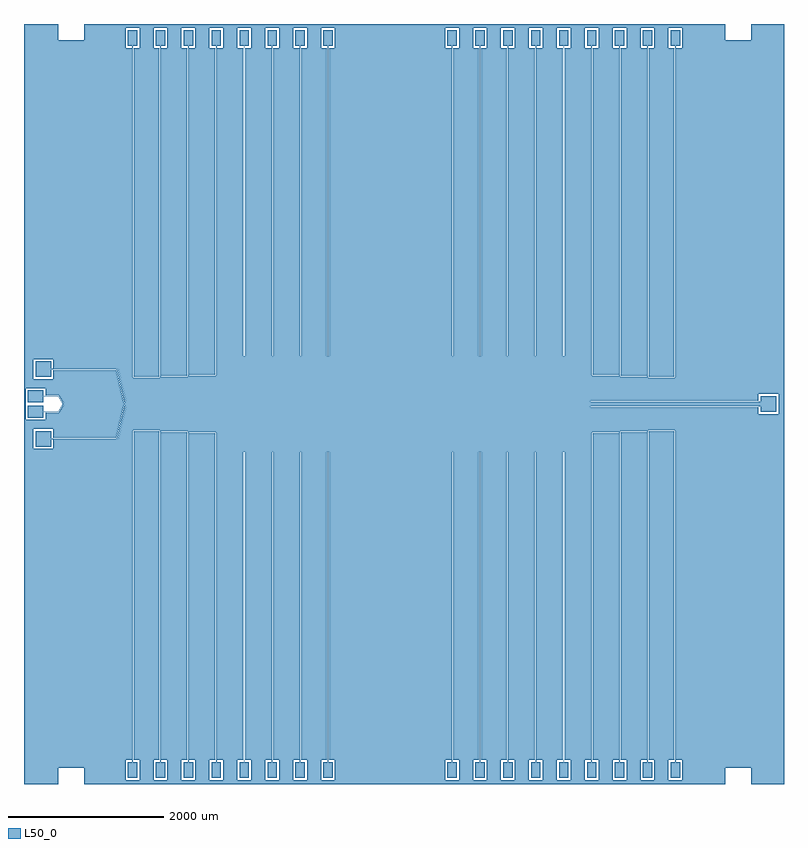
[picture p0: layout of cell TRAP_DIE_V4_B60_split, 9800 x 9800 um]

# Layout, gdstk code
import gdstk
lib = gdstk.Library(unit=1e-6, precision=1e-09)
def R(c, l, rs):  # rectangles x0, y0, x1, y1
    for r in rs: c.add(gdstk.rectangle(r[:2], r[2:], *l))
def P(c, l, *ps):  # polygons
    for p in ps: c.add(gdstk.Polygon(p, *l))
L50_0 = (50, 0)

trap_die_v4_b60_split = lib.new_cell('TRAP_DIE_V4_B60_split')
R(trap_die_v4_b60_split, L50_0, [(-3487,-580,-3153,-350), (-3127,-580,-2793,-362), (-2767,-580,-2433,-374), (-2052,-580,-1708,-393), (-1692,-580,-1348,-405), (-1332,-580,-988,-417), (628,-580,972,-429), (988,-580,1332,-417), (1348,-580,1692,-405), (1708,-580,2052,-393), (2433,-580,2767,-374), (2793,-580,3127,-362), (3153,-580,3487,-350), (211,-14,269,14), (-3487,350,-3153,580), (3153,350,3487,580), (-3127,362,-2793,580), (2793,362,3127,580), (-2767,374,-2433,580), (2433,374,2767,580), (-2052,393,-1708,580), (1708,393,2052,580), (-1692,405,-1348,580), (1348,405,1692,580), (-1332,417,-988,580), (988,417,1332,580), (628,429,972,580)])
P(trap_die_v4_b60_split, L50_0, [(-3697.016,453.75),(-4550,453.75),(-4550,550),(-4750,550),(-4750,350),(-4550,350),(-4550,446.25),(-3702.984,446.25),(-3602.984,12.5),(158.5,12.5),(158.5,2.5),(210,2.5),(210,15),(270,15),(270,2.5),(1995,2.5),(1995,20),(-3597.016,20)],
  [(1995,-2.5),(270,-2.5),(270,-15),(210,-15),(210,-2.5),(158.5,-2.5),(158.5,-12.5),(-3602.984,-12.5),(-3702.984,-446.25),(-4550,-446.25),(-4550,-350),(-4750,-350),(-4750,-550),(-4550,-550),(-4550,-453.75),(-3697.016,-453.75),(-3597.016,-20),(1995,-20)],
  [(-2000,109),(-2000,25),(2000,25),(2000,-25),(-2000,-25),(-2000,-109),(2060,-109),(2060,-30),(4600,-30),(4600,-100),(4800,-100),(4800,100),(4600,100),(4600,30),(2060,30),(2060,109)],
  [(-3497,4620),(-3440,4620),(-3440,4820),(-3560,4820),(-3560,4620),(-3503,4620),(-3503,334),(-2000,334),(-2000,114),(-902.5,114),(-902.5,340),(-3497,340)],
  [(-3137,4620),(-3080,4620),(-3080,4820),(-3200,4820),(-3200,4620),(-3143,4620),(-3143,346),(-897.5,346),(-897.5,114),(-782.5,114),(-782.5,352),(-3137,352)],
  [(-2777,4620),(-2720,4620),(-2720,4820),(-2840,4820),(-2840,4620),(-2783,4620),(-2783,358),(-777.5,358),(-777.5,114),(-662.5,114),(-662.5,364),(-2777,364)],
  [(-2417,4620),(-2360,4620),(-2360,4820),(-2480,4820),(-2480,4620),(-2423,4620),(-2423,370),(-657.5,370),(-657.5,114),(-542.5,114),(-542.5,376),(-2417,376)],
  [(-2057,4620),(-2000,4620),(-2000,4820),(-2120,4820),(-2120,4620),(-2063,4620),(-2063,382),(-537.5,382),(-537.5,114),(-422.5,114),(-422.5,388),(-2057,388)],
  [(-1697,4620),(-1640,4620),(-1640,4820),(-1760,4820),(-1760,4620),(-1703,4620),(-1703,394),(-417.5,394),(-417.5,114),(-302.5,114),(-302.5,400),(-1697,400)],
  [(-1337,4620),(-1280,4620),(-1280,4820),(-1400,4820),(-1400,4620),(-1343,4620),(-1343,406),(-297.5,406),(-297.5,114),(-182.5,114),(-182.5,412),(-1337,412)],
  [(-977,4620),(-920,4620),(-920,4820),(-1040,4820),(-1040,4620),(-983,4620),(-983,418),(-177.5,418),(-177.5,114),(-62.5,114),(-62.5,424),(-977,424)],
  [(902.5,114),(2060,114),(2060,334),(3503,334),(3503,4620),(3560,4620),(3560,4820),(3440,4820),(3440,4620),(3497,4620),(3497,340),(902.5,340)],
  [(782.5,114),(897.5,114),(897.5,346),(3143,346),(3143,4620),(3200,4620),(3200,4820),(3080,4820),(3080,4620),(3137,4620),(3137,352),(782.5,352)],
  [(662.5,114),(777.5,114),(777.5,358),(2783,358),(2783,4620),(2840,4620),(2840,4820),(2720,4820),(2720,4620),(2777,4620),(2777,364),(662.5,364)],
  [(542.5,114),(657.5,114),(657.5,370),(2423,370),(2423,4620),(2480,4620),(2480,4820),(2360,4820),(2360,4620),(2417,4620),(2417,376),(542.5,376)],
  [(422.5,114),(537.5,114),(537.5,382),(2063,382),(2063,4620),(2120,4620),(2120,4820),(2000,4820),(2000,4620),(2057,4620),(2057,388),(422.5,388)],
  [(302.5,114),(417.5,114),(417.5,394),(1703,394),(1703,4620),(1760,4620),(1760,4820),(1640,4820),(1640,4620),(1697,4620),(1697,400),(302.5,400)],
  [(182.5,114),(297.5,114),(297.5,406),(1343,406),(1343,4620),(1400,4620),(1400,4820),(1280,4820),(1280,4620),(1337,4620),(1337,412),(182.5,412)],
  [(62.5,114),(177.5,114),(177.5,418),(983,418),(983,4620),(1040,4620),(1040,4820),(920,4820),(920,4620),(977,4620),(977,424),(62.5,424)],
  [(-57.5,114),(57.5,114),(57.5,430),(623,430),(623,4620),(680,4620),(680,4820),(560,4820),(560,4620),(617,4620),(617,436),(-57.5,436)],
  [(-902.5,-114),(-2000,-114),(-2000,-334),(-3503,-334),(-3503,-4620),(-3560,-4620),(-3560,-4820),(-3440,-4820),(-3440,-4620),(-3497,-4620),(-3497,-340),(-902.5,-340)],
  [(-782.5,-114),(-897.5,-114),(-897.5,-346),(-3143,-346),(-3143,-4620),(-3200,-4620),(-3200,-4820),(-3080,-4820),(-3080,-4620),(-3137,-4620),(-3137,-352),(-782.5,-352)],
  [(-662.5,-114),(-777.5,-114),(-777.5,-358),(-2783,-358),(-2783,-4620),(-2840,-4620),(-2840,-4820),(-2720,-4820),(-2720,-4620),(-2777,-4620),(-2777,-364),(-662.5,-364)],
  [(-542.5,-114),(-657.5,-114),(-657.5,-370),(-2423,-370),(-2423,-4620),(-2480,-4620),(-2480,-4820),(-2360,-4820),(-2360,-4620),(-2417,-4620),(-2417,-376),(-542.5,-376)],
  [(-422.5,-114),(-537.5,-114),(-537.5,-382),(-2063,-382),(-2063,-4620),(-2120,-4620),(-2120,-4820),(-2000,-4820),(-2000,-4620),(-2057,-4620),(-2057,-388),(-422.5,-388)],
  [(-302.5,-114),(-417.5,-114),(-417.5,-394),(-1703,-394),(-1703,-4620),(-1760,-4620),(-1760,-4820),(-1640,-4820),(-1640,-4620),(-1697,-4620),(-1697,-400),(-302.5,-400)],
  [(-182.5,-114),(-297.5,-114),(-297.5,-406),(-1343,-406),(-1343,-4620),(-1400,-4620),(-1400,-4820),(-1280,-4820),(-1280,-4620),(-1337,-4620),(-1337,-412),(-182.5,-412)],
  [(-62.5,-114),(-177.5,-114),(-177.5,-418),(-983,-418),(-983,-4620),(-1040,-4620),(-1040,-4820),(-920,-4820),(-920,-4620),(-977,-4620),(-977,-424),(-62.5,-424)],
  [(3497,-4620),(3440,-4620),(3440,-4820),(3560,-4820),(3560,-4620),(3503,-4620),(3503,-334),(2060,-334),(2060,-114),(902.5,-114),(902.5,-340),(3497,-340)],
  [(3137,-4620),(3080,-4620),(3080,-4820),(3200,-4820),(3200,-4620),(3143,-4620),(3143,-346),(897.5,-346),(897.5,-114),(782.5,-114),(782.5,-352),(3137,-352)],
  [(2777,-4620),(2720,-4620),(2720,-4820),(2840,-4820),(2840,-4620),(2783,-4620),(2783,-358),(777.5,-358),(777.5,-114),(662.5,-114),(662.5,-364),(2777,-364)],
  [(2417,-4620),(2360,-4620),(2360,-4820),(2480,-4820),(2480,-4620),(2423,-4620),(2423,-370),(657.5,-370),(657.5,-114),(542.5,-114),(542.5,-376),(2417,-376)],
  [(2057,-4620),(2000,-4620),(2000,-4820),(2120,-4820),(2120,-4620),(2063,-4620),(2063,-382),(537.5,-382),(537.5,-114),(422.5,-114),(422.5,-388),(2057,-388)],
  [(1697,-4620),(1640,-4620),(1640,-4820),(1760,-4820),(1760,-4620),(1703,-4620),(1703,-394),(417.5,-394),(417.5,-114),(302.5,-114),(302.5,-400),(1697,-400)],
  [(1337,-4620),(1280,-4620),(1280,-4820),(1400,-4820),(1400,-4620),(1343,-4620),(1343,-406),(297.5,-406),(297.5,-114),(182.5,-114),(182.5,-412),(1337,-412)],
  [(977,-4620),(920,-4620),(920,-4820),(1040,-4820),(1040,-4620),(983,-4620),(983,-418),(177.5,-418),(177.5,-114),(62.5,-114),(62.5,-424),(977,-424)],
  [(617,-4620),(560,-4620),(560,-4820),(680,-4820),(680,-4620),(623,-4620),(623,-430),(57.5,-430),(57.5,-114),(-57.5,-114),(-57.5,-436),(617,-436)],
  [(153.5,7.5),(-4398.622,7.5),(-4458.622,102.5),(-4650,102.5),(-4650,175),(-4850,175),(-4850,25),(-4650,25),(-4650,97.5),(-4461.378,97.5),(-4401.378,2.5),(153.5,2.5)],
  [(-4850,-25),(-4850,-175),(-4650,-175),(-4650,-102.5),(-4458.622,-102.5),(-4398.622,-7.5),(153.5,-7.5),(153.5,-2.5),(-4401.378,-2.5),(-4461.378,-97.5),(-4650,-97.5),(-4650,-25)],
  [(-4460,-4690),(-4120,-4690),(-4120,-4900),(4140,-4900),(4140,-4690),(4480,-4690),(4480,-4900),(4900,-4900),(4900,-580),(3513,-580),(3513,-4590),(3590,-4590),(3590,-4850),(3410,-4850),(3410,-4590),(3487,-4590),(3487,-580),(3153,-580),(3153,-4590),(3230,-4590),(3230,-4850),(3050,-4850),(3050,-4590),(3127,-4590),(3127,-580),(2793,-580),(2793,-4590),(2870,-4590),(2870,-4850),(2690,-4850),(2690,-4590),(2767,-4590),(2767,-580),(2433,-580),(2433,-4590),(2510,-4590),(2510,-4850),(2330,-4850),(2330,-4590),(2407,-4590),(2407,-580),(2068,-580),(2068,-614),(2073,-614),(2073,-4590),(2150,-4590),(2150,-4850),(1970,-4850),(1970,-4590),(2047,-4590),(2047,-614),(2052,-614),(2052,-580),(1708,-580),(1708,-614),(1713,-614),(1713,-4590),(1790,-4590),(1790,-4850),(1610,-4850),(1610,-4590),(1687,-4590),(1687,-614),(1692,-614),(1692,-580),(1348,-580),(1348,-614),(1353,-614),(1353,-4590),(1430,-4590),(1430,-4850),(1250,-4850),(1250,-4590),(1327,-4590),(1327,-614),(1332,-614),(1332,-580),(988,-580),(988,-614),(993,-614),(993,-4590),(1070,-4590),(1070,-4850),(890,-4850),(890,-4590),(967,-4590),(967,-614),(972,-614),(972,-580),(628,-580),(628,-614),(633,-614),(633,-4590),(710,-4590),(710,-4850),(530,-4850),(530,-4590),(607,-4590),(607,-614),(612,-614),(612,-580),(-972,-580),(-972,-614),(-967,-614),(-967,-4590),(-890,-4590),(-890,-4850),(-1070,-4850),(-1070,-4590),(-993,-4590),(-993,-614),(-988,-614),(-988,-580),(-1332,-580),(-1332,-614),(-1327,-614),(-1327,-4590),(-1250,-4590),(-1250,-4850),(-1430,-4850),(-1430,-4590),(-1353,-4590),(-1353,-614),(-1348,-614),(-1348,-580),(-1692,-580),(-1692,-614),(-1687,-614),(-1687,-4590),(-1610,-4590),(-1610,-4850),(-1790,-4850),(-1790,-4590),(-1713,-4590),(-1713,-614),(-1708,-614),(-1708,-580),(-2052,-580),(-2052,-614),(-2047,-614),(-2047,-4590),(-1970,-4590),(-1970,-4850),(-2150,-4850),(-2150,-4590),(-2073,-4590),(-2073,-614),(-2068,-614),(-2068,-580),(-2407,-580),(-2407,-4590),(-2330,-4590),(-2330,-4850),(-2510,-4850),(-2510,-4590),(-2433,-4590),(-2433,-580),(-2767,-580),(-2767,-4590),(-2690,-4590),(-2690,-4850),(-2870,-4850),(-2870,-4590),(-2793,-4590),(-2793,-580),(-3127,-580),(-3127,-4590),(-3050,-4590),(-3050,-4850),(-3230,-4850),(-3230,-4590),(-3153,-4590),(-3153,-580),(-3487,-580),(-3487,-4590),(-3410,-4590),(-3410,-4850),(-3590,-4850),(-3590,-4590),(-3513,-4590),(-3513,-580),(-4900,-580),(-4900,-4900),(-4460,-4900)],
  [(-3513,-324),(-2300,-324),(-2300,-329),(-2005,-329),(-2005,-25),(-2300,-25),(-2300,-30),(-3589.059,-30),(-3689.059,-463.75),(-4520,-463.75),(-4520,-580),(-3513,-580)],
  [(-4520,463.75),(-3689.059,463.75),(-3589.059,30),(-2300,30),(-2300,25),(-2005,25),(-2005,329),(-2300,329),(-2300,324),(-3513,324),(-3513,580),(-4520,580)],
  [(-2068,580),(-2407,580),(-2407,386),(-2300,386),(-2300,381),(-2068,381)],
  [(-62.5,441),(612,441),(612,580),(-972,580),(-972,429),(-62.5,429)],
  [(2400,386),(2407,386),(2407,580),(2068,580),(2068,381),(2400,381)],
  [(4900,580),(3513,580),(3513,324),(2400,324),(2400,329),(2065,329),(2065,35),(2400,35),(2400,40),(4570,40),(4570,130),(4830,130),(4830,-130),(4570,-130),(4570,-40),(2400,-40),(2400,-35),(2065,-35),(2065,-329),(2400,-329),(2400,-324),(3513,-324),(3513,-580),(4900,-580)],
  [(2407,-386),(2400,-386),(2400,-381),(2068,-381),(2068,-580),(2407,-580)],
  [(-2068,-381),(-2300,-381),(-2300,-386),(-2407,-386),(-2407,-580),(-2068,-580)],
  [(612,-441),(-62.5,-441),(-62.5,-429),(-972,-429),(-972,-580),(612,-580)],
  [(-4620,205),(-4620,112.5),(-4453.11,112.5),(-4393.11,17.5),(-3614.399,17.5),(-3710.941,436.25),(-4520,436.25),(-4520,320),(-4780,320),(-4780,580),(-4900,580),(-4900,-580),(-4780,-580),(-4780,-320),(-4520,-320),(-4520,-436.25),(-3710.941,-436.25),(-3614.399,-17.5),(-4393.11,-17.5),(-4453.11,-112.5),(-4620,-112.5),(-4620,-205),(-4880,-205),(-4880,205)],
  [(4900,4900),(4480,4900),(4480,4690),(4140,4690),(4140,4900),(-4120,4900),(-4120,4690),(-4460,4690),(-4460,4900),(-4900,4900),(-4900,580),(-3513,580),(-3513,4590),(-3590,4590),(-3590,4850),(-3410,4850),(-3410,4590),(-3487,4590),(-3487,580),(-3153,580),(-3153,4590),(-3230,4590),(-3230,4850),(-3050,4850),(-3050,4590),(-3127,4590),(-3127,580),(-2793,580),(-2793,4590),(-2870,4590),(-2870,4850),(-2690,4850),(-2690,4590),(-2767,4590),(-2767,580),(-2433,580),(-2433,4590),(-2510,4590),(-2510,4850),(-2330,4850),(-2330,4590),(-2407,4590),(-2407,580),(-2068,580),(-2068,614),(-2073,614),(-2073,4590),(-2150,4590),(-2150,4850),(-1970,4850),(-1970,4590),(-2047,4590),(-2047,614),(-2052,614),(-2052,580),(-1708,580),(-1708,614),(-1713,614),(-1713,4590),(-1790,4590),(-1790,4850),(-1610,4850),(-1610,4590),(-1687,4590),(-1687,614),(-1692,614),(-1692,580),(-1348,580),(-1348,614),(-1353,614),(-1353,4590),(-1430,4590),(-1430,4850),(-1250,4850),(-1250,4590),(-1327,4590),(-1327,614),(-1332,614),(-1332,580),(-988,580),(-988,614),(-993,614),(-993,4590),(-1070,4590),(-1070,4850),(-890,4850),(-890,4590),(-967,4590),(-967,614),(-972,614),(-972,580),(612,580),(612,614),(607,614),(607,4590),(530,4590),(530,4850),(710,4850),(710,4590),(633,4590),(633,614),(628,614),(628,580),(972,580),(972,614),(967,614),(967,4590),(890,4590),(890,4850),(1070,4850),(1070,4590),(993,4590),(993,614),(988,614),(988,580),(1332,580),(1332,614),(1327,614),(1327,4590),(1250,4590),(1250,4850),(1430,4850),(1430,4590),(1353,4590),(1353,614),(1348,614),(1348,580),(1692,580),(1692,614),(1687,614),(1687,4590),(1610,4590),(1610,4850),(1790,4850),(1790,4590),(1713,4590),(1713,614),(1708,614),(1708,580),(2052,580),(2052,614),(2047,614),(2047,4590),(1970,4590),(1970,4850),(2150,4850),(2150,4590),(2073,4590),(2073,614),(2068,614),(2068,580),(2407,580),(2407,4590),(2330,4590),(2330,4850),(2510,4850),(2510,4590),(2433,4590),(2433,580),(2767,580),(2767,4590),(2690,4590),(2690,4850),(2870,4850),(2870,4590),(2793,4590),(2793,580),(3127,580),(3127,4590),(3050,4590),(3050,4850),(3230,4850),(3230,4590),(3153,4590),(3153,580),(3487,580),(3487,4590),(3410,4590),(3410,4850),(3590,4850),(3590,4590),(3513,4590),(3513,580),(4900,580)])

lib.write_gds('TRAP_DIE_V4_B60_split.gds')
